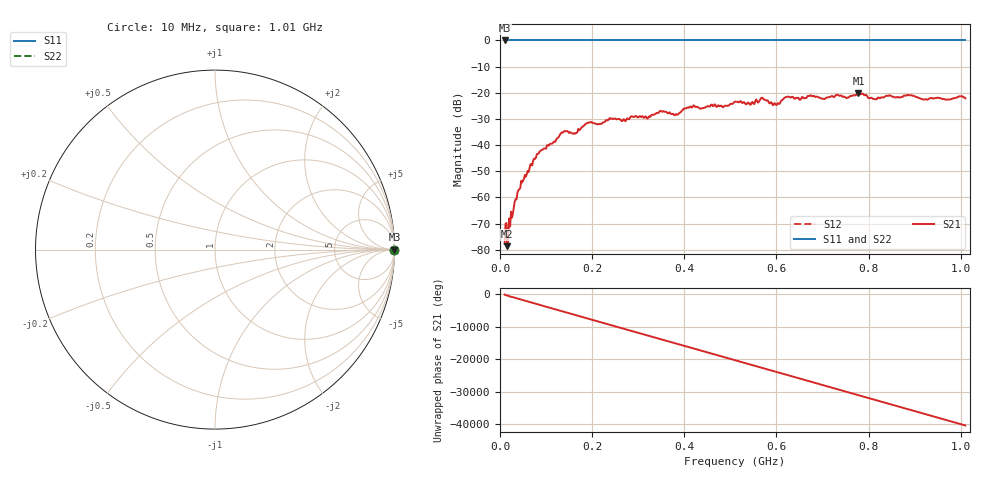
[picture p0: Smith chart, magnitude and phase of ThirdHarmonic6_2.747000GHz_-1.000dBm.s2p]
! 8/17/2025 6:51:10 AM
! C:\ANRITSUVNA\TEMP\TEMP.S2P
! CHANNEL.1
! TR.MEASUREMENT
! RAW.DATA
! RF.CORRECTION.OFF
! AVERAGING.OFF
! IF.BANDWIDTH: 5KHZ
! SWEEPTYPE:  FREQ.SWEEP(Linear)
! Reference Plane Port Info
! PORT:  PORT1  PORT2
! DISTANCE:  0  m  0  m
! TIME:  0  s  0  s
! PHASE.OFFSET:  0  deg.  0  deg.
! LOSS:  0  dB  0  dB
! REF.LOSS:  0  dB  0  dB
! REF.FREQ:  0  Hz  0  Hz
! Power Info
! POWER:  -20  dBm  -20  dBm
! EFF.POWER:  -20  dBm  -20  dBm
! SOURCE.ATTEN:  0  dB  0  dB
! TEST.ATTEN:  0  dB  0  dB
# GHZ S RI R 50.0
! FREQ.GHZ  S11RE  S11IM  S21RE  S21IM  S12RE  S12IM  S22RE  S22IM
!; PortSelection: Port_12
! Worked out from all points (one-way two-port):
!   501 points, 10 MHz to 1.01 GHz, reference 50 ohm
!   highest |S21| = -20.05 dB at 778 MHz (marker M1); lowest = -78.6 dB at 16 MHz (marker M2)
!   lowest |S11| = 0.0 dB at 10 MHz (marker M3)
!   |S11| at or under -10 dB: nowhere
!   |S22| runs from 0.0 to 0.0 dB; largest |S21 - S12| = 1.1
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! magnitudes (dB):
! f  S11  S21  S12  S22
! 10 MHz  0.0  -77.7  0.0  0.0
! 16 MHz  0.0  -78.6  0.0  0.0
! 20 MHz  0.0  -68.0  0.0  0.0
! 42 MHz  0.0  -56.8  0.0  0.0
! 84 MHz  0.0  -43.1  0.0  0.0
! 136 MHz  0.0  -35.3  0.0  0.0
! 162 MHz  0.0  -35.7  0.0  0.0
! 178 MHz  0.0  -33.1  0.0  0.0
! 194 MHz  0.0  -31.3  0.0  0.0
! 344 MHz  0.0  -27.7  0.0  0.0
! 382 MHz  0.0  -28.1  0.0  0.0
! 416 MHz  0.0  -25.7  0.0  0.0
! 510 MHz  0.0  -23.4  0.0  0.0
! 548 MHz  0.0  -23.5  0.0  0.0
! 570 MHz  0.0  -22.0  0.0  0.0
! 596 MHz  0.0  -24.0  0.0  0.0
! 622 MHz  0.0  -21.6  0.0  0.0
! 678 MHz  0.0  -21.4  0.0  0.0
! 778 MHz  0.0  -20.0  0.0  0.0
! 814 MHz  0.0  -22.4  0.0  0.0
! 844 MHz  0.0  -21.1  0.0  0.0
! 1.01 GHz  0.0  -22.1  0.0  0.0
